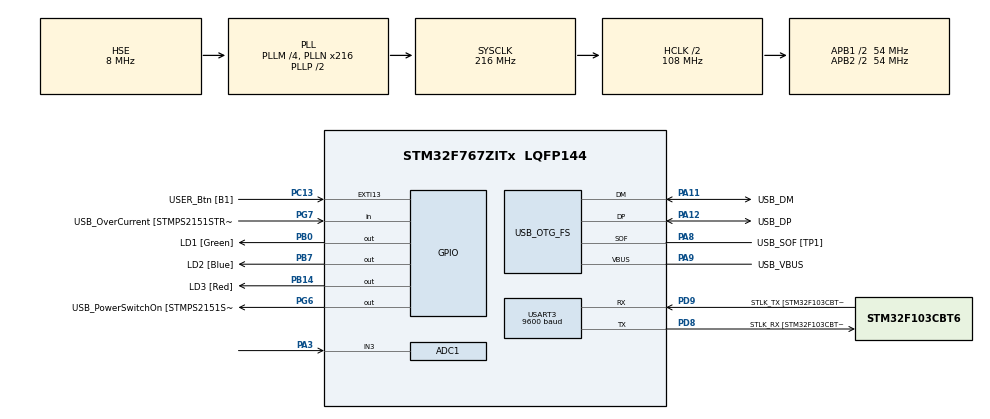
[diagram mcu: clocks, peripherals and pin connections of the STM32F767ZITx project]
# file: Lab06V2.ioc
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ADC1.Channel-0\#ChannelRegularConversion=ADC_CHANNEL_3
ADC1.ExternalTrigConv=ADC_EXTERNALTRIGCONV_T2_CC2
ADC1.NbrOfConversionFlag=1
ADC1.Rank-0\#ChannelRegularConversion=1
ADC1.SamplingTime-0\#ChannelRegularConversion=ADC_SAMPLETIME_3CYCLES
ADC1.master=1
Mcu.Family=STM32F7
Mcu.Name=STM32F767ZITx
Mcu.Package=LQFP144
NVIC.ADC_IRQn=true\:2\:0\:true\:false\:true\:true\:true\:true
NVIC.PriorityGroup=NVIC_PRIORITYGROUP_2
NVIC.TIM1_UP_TIM10_IRQn=true\:1\:0\:true\:false\:true\:true\:true\:true
NVIC.TIM2_IRQn=true\:2\:0\:true\:false\:true\:true\:true\:true
PA1.GPIO_Label=RMII_REF_CLK [LAN8742A-CZ-TR_REFCLK0]
PA1.Signal=ETH_REF_CLK
PA10.GPIO_Label=USB_ID
PA10.Signal=USB_OTG_FS_ID
PA11.GPIO_Label=USB_DM
PA11.Mode=Device_Only
PA11.Signal=USB_OTG_FS_DM
PA12.GPIO_Label=USB_DP
PA12.Mode=Device_Only
PA12.Signal=USB_OTG_FS_DP
PA13.GPIO_Label=TMS
PA13.Mode=Serial_Wire
PA13.Signal=SYS_JTMS-SWDIO
PA14.GPIO_Label=TCK
PA14.Mode=Serial_Wire
PA14.Signal=SYS_JTCK-SWCLK
PA2.GPIO_Label=RMII_MDIO [LAN8742A-CZ-TR_MDIO]
PA2.Signal=ETH_MDIO
PA3.Signal=ADCx_IN3
PA7.GPIO_Label=RMII_CRS_DV [LAN8742A-CZ-TR_CRS_DV]
PA7.Signal=ETH_CRS_DV
PA8.GPIO_Label=USB_SOF [TP1]
PA8.Mode=Activate_SOF_FS
PA8.Signal=USB_OTG_FS_SOF
PA9.GPIO_Label=USB_VBUS
PA9.Mode=Activate_VBUS
PA9.Signal=USB_OTG_FS_VBUS
PB0.GPIO_Label=LD1 [Green]
PB0.Signal=GPIO_Output
PB13.GPIO_Label=RMII_TXD1 [LAN8742A-CZ-TR_TXD1]
PB13.Signal=ETH_TXD1
PB14.GPIO_Label=LD3 [Red]
PB14.Signal=GPIO_Output
PB3.GPIO_Label=SWO
PB3.Signal=SYS_JTDO-SWO
PB7.GPIO_Label=LD2 [Blue]
PB7.Signal=GPIO_Output
PC1.GPIO_Label=RMII_MDC [LAN8742A-CZ-TR_MDC]
PC1.Signal=ETH_MDC
PC13.GPIO_Label=USER_Btn [B1]
PC13.Signal=GPXTI13
PC14/OSC32_IN.Mode=LSE-External-Oscillator
PC14/OSC32_IN.Signal=RCC_OSC32_IN
PC15/OSC32_OUT.Mode=LSE-External-Oscillator
PC15/OSC32_OUT.Signal=RCC_OSC32_OUT
PC4.GPIO_Label=RMII_RXD0 [LAN8742A-CZ-TR_RXD0]
PC4.Signal=ETH_RXD0
PC5.GPIO_Label=RMII_RXD1 [LAN8742A-CZ-TR_RXD1]
PC5.Signal=ETH_RXD1
PD8.GPIO_Label=STLK_RX [STM32F103CBT6_PA3]
PD8.Mode=Asynchronous
PD8.Signal=USART3_TX
PD9.GPIO_Label=STLK_TX [STM32F103CBT6_PA2]
PD9.Mode=Asynchronous
PD9.Signal=USART3_RX
PG11.GPIO_Label=RMII_TX_EN [LAN8742A-CZ-TR_TXEN]
PG11.Signal=ETH_TX_EN
PG13.GPIO_Label=RMII_TXD0 [LAN8742A-CZ-TR_TXD0]
PG13.Signal=ETH_TXD0
PG6.GPIO_Label=USB_PowerSwitchOn [STMPS2151STR_EN]
PG6.Signal=GPIO_Output
PG7.GPIO_Label=USB_OverCurrent [STMPS2151STR_FAULT]
PG7.Signal=GPIO_Input
PH0/OSC_IN.GPIO_Label=MCO [STM32F103CBT6_PA8]
PH0/OSC_IN.Mode=HSE-External-Clock-Source
PH0/OSC_IN.Signal=RCC_OSC_IN
PH1/OSC_OUT.Mode=HSE-External-Clock-Source
PH1/OSC_OUT.Signal=RCC_OSC_OUT
ProjectManager.HeapSize=0x200
ProjectManager.StackSize=0x400
ProjectManager.TargetToolchain=STM32CubeIDE
RCC.48MHZClocksFreq_Value=24000000
RCC.AHBCLKDivider=RCC_SYSCLK_DIV2
RCC.AHBFreq_Value=108000000
RCC.APB1CLKDivider=RCC_HCLK_DIV2
RCC.APB1Freq_Value=54000000
RCC.APB1TimFreq_Value=108000000
RCC.APB2CLKDivider=RCC_HCLK_DIV2
RCC.APB2Freq_Value=54000000
RCC.APB2TimFreq_Value=108000000
RCC.CortexFreq_Value=108000000
RCC.HCLKFreq_Value=108000000
RCC.HSE_VALUE=8000000
RCC.HSI_VALUE=16000000
RCC.PLLM=4
RCC.PLLMUL=RCC_PLL_MUL9
RCC.PLLN=216
RCC.PLLQ=9
RCC.PRESCALERUSB=RCC_USBCLKSOURCE_PLL_DIV1_5
RCC.SYSCLKFreq_VALUE=216000000
RCC.SYSCLKSource=RCC_SYSCLKSOURCE_PLLCLK
RCC.SYSCLKSourceVirtual=RCC_SYSCLKSOURCE_PLLCLK
RCC.USBFreq_Value=48000000
RCC.VCOOutputFreq_Value=432000000
SH.ADCx_IN3.0=ADC1_IN3,IN3
TIM1.Period=1000-1
TIM1.Prescaler=108-1
TIM2.Period=800-1
TIM2.Prescaler=108-1
TIM2.TIM_MasterOutputTrigger=TIM_TRGO_UPDATE
USART3.BaudRate=9600
USART3.VirtualMode-Asynchronous=VM_ASYNC
USB_OTG_FS.VirtualMode=Device_Only
VP_TIM1_VS_ClockSourceINT.Mode=Internal
VP_TIM2_VS_ClockSourceINT.Mode=Internal
board=NUCLEO-F767ZI

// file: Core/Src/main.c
/* USER CODE BEGIN Header */
/**
 ******************************************************************************
 * @file           : main.c
 * @brief          : Main program body
 ******************************************************************************
 * @attention
 *
 * Copyright (c) 2022 STMicroelectronics.
 * All rights reserved.
 *
 * This software is licensed under terms that can be found in the LICENSE file
 * in the root directory of this software component.
 * If no LICENSE file comes with this software, it is provided AS-IS.
 *
 ******************************************************************************
 */
/* USER CODE END Header */
#include "main.h"
#include "adc.h"
#include "tim.h"
#include "usart.h"
#include "usb_otg.h"
#include "gpio.h"

/* USER CODE BEGIN PV */
uint32_t count;
uint32_t countdown = 1030;
int secbf = 0;
void displayNumber(uint32_t x) {
	char str[100];
	snprintf(str, sizeof str, "%lu", (unsigned long) x);
	HAL_UART_Transmit(&huart3, (uint8_t*) str, strlen(str), 100);
	HAL_UART_Transmit(&huart3, (uint8_t*) "\n\r", strlen("\n\r"), 100);
}
/* USER CODE END PV */

void SystemClock_Config(void);

int main(void) {

	/* MCU Configuration--------------------------------------------------------*/

	/* Reset of all peripherals, Initializes the Flash interface and the Systick. */
	HAL_Init();

	/* Configure the system clock */
	SystemClock_Config();

	/* Initialize all configured peripherals */
	MX_GPIO_Init();
	MX_USART3_UART_Init();
	MX_USB_OTG_FS_PCD_Init();
	MX_ADC1_Init();
	MX_TIM1_Init();
	MX_TIM2_Init();
	/* USER CODE BEGIN 2 */
	HAL_TIM_Base_Start_IT(&htim1);
	HAL_TIM_Base_Start_IT(&htim2);
	HAL_ADC_Start_IT(&hadc1);
	/* USER CODE END 2 */

	/* Infinite loop */
	while (1) {

		/* USER CODE BEGIN 3 */
		char temp2[100];
		int sec = (count / 2000);

		if (HAL_GPIO_ReadPin(GPIOC, GPIO_PIN_13) == GPIO_PIN_SET) {
			HAL_GPIO_WritePin(GPIOB, GPIO_PIN_0, GPIO_PIN_SET);
			HAL_Delay(1000);

			HAL_GPIO_WritePin(GPIOB, GPIO_PIN_7, GPIO_PIN_SET);
			HAL_Delay(1000);

			HAL_GPIO_WritePin(GPIOB, GPIO_PIN_14, GPIO_PIN_SET);
			HAL_Delay(1000);
			HAL_GPIO_WritePin(GPIOB, GPIO_PIN_14, GPIO_PIN_RESET);
			HAL_GPIO_WritePin(GPIOB, GPIO_PIN_0, GPIO_PIN_RESET);
			HAL_GPIO_WritePin(GPIOB, GPIO_PIN_7, GPIO_PIN_RESET);
		} else {
			if (sec > secbf) {
				sprintf(temp2, "%d\n\r", countdown);
				HAL_UART_Transmit(&huart3, temp2, strlen(temp2), 100);
				countdown -= 2;
				secbf = sec;
			} else {
				secbf = sec;
			}
			if (countdown < 1002) {
				HAL_UART_Transmit(&huart3, "STOP", 4, 100);
				return 0;
			}
		}
	}
	/* USER CODE END 3 */
}

void SystemClock_Config(void) {
	RCC_OscInitTypeDef RCC_OscInitStruct = { 0 };
	RCC_ClkInitTypeDef RCC_ClkInitStruct = { 0 };

	/** Configure LSE Drive Capability
	 */
	HAL_PWR_EnableBkUpAccess();

	/** Configure the main internal regulator output voltage
	 */
	__HAL_RCC_PWR_CLK_ENABLE();
	__HAL_PWR_VOLTAGESCALING_CONFIG(PWR_REGULATOR_VOLTAGE_SCALE3);

	/** Initializes the RCC Oscillators according to the specified parameters
	 * in the RCC_OscInitTypeDef structure.
	 */
	RCC_OscInitStruct.OscillatorType = RCC_OSCILLATORTYPE_HSE;
	RCC_OscInitStruct.HSEState = RCC_HSE_BYPASS;
	RCC_OscInitStruct.PLL.PLLState = RCC_PLL_ON;
	RCC_OscInitStruct.PLL.PLLSource = RCC_PLLSOURCE_HSE;
	RCC_OscInitStruct.PLL.PLLM = 4;
	RCC_OscInitStruct.PLL.PLLN = 216;
	RCC_OscInitStruct.PLL.PLLP = RCC_PLLP_DIV2;
	RCC_OscInitStruct.PLL.PLLQ = 9;
	RCC_OscInitStruct.PLL.PLLR = 2;
	if (HAL_RCC_OscConfig(&RCC_OscInitStruct) != HAL_OK) {
		Error_Handler();
	}

	/** Activate the Over-Drive mode
	 */
	if (HAL_PWREx_EnableOverDrive() != HAL_OK) {
		Error_Handler();
	}

	/** Initializes the CPU, AHB and APB buses clocks
	 */
	RCC_ClkInitStruct.ClockType = RCC_CLOCKTYPE_HCLK | RCC_CLOCKTYPE_SYSCLK
			| RCC_CLOCKTYPE_PCLK1 | RCC_CLOCKTYPE_PCLK2;
	RCC_ClkInitStruct.SYSCLKSource = RCC_SYSCLKSOURCE_PLLCLK;
	RCC_ClkInitStruct.AHBCLKDivider = RCC_SYSCLK_DIV2;
	RCC_ClkInitStruct.APB1CLKDivider = RCC_HCLK_DIV2;
	RCC_ClkInitStruct.APB2CLKDivider = RCC_HCLK_DIV2;

	if (HAL_RCC_ClockConfig(&RCC_ClkInitStruct, FLASH_LATENCY_3) != HAL_OK) {
		Error_Handler();
	}
}

void Error_Handler(void) {
	__disable_irq();
	while (1) {
	}
}
